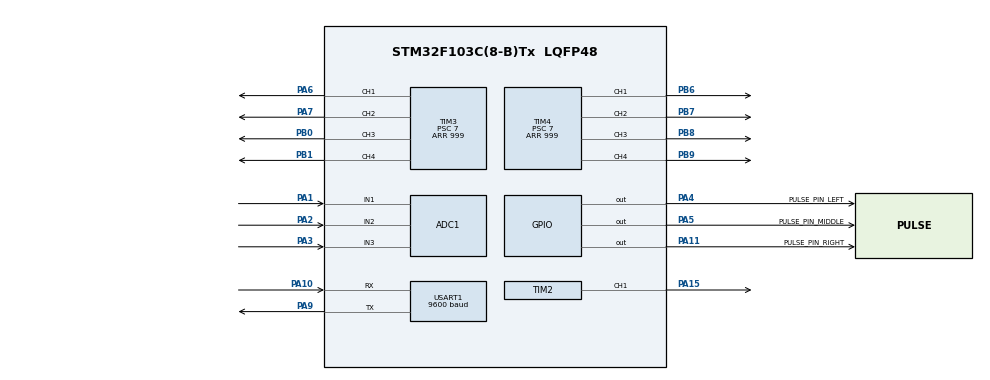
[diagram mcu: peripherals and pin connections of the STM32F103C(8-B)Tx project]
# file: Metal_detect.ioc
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ADC1.ContinuousConvMode=DISABLE
ADC1.EnableRegularConversion=DISABLE
ADC1.master=1
Mcu.Family=STM32F1
Mcu.Name=STM32F103C(8-B)Tx
Mcu.Package=LQFP48
NVIC.PriorityGroup=NVIC_PRIORITYGROUP_4
NVIC.USART1_IRQn=true\:0\:0\:false\:false\:true\:true\:true\:true
PA1.Signal=ADCx_IN1
PA10.Mode=Asynchronous
PA10.Signal=USART1_RX
PA11.GPIO_Label=PULSE_PIN_RIGHT
PA11.Signal=GPIO_Output
PA13.Mode=Trace_Asynchronous_SW
PA13.Signal=SYS_JTMS-SWDIO
PA14.Mode=Trace_Asynchronous_SW
PA14.Signal=SYS_JTCK-SWCLK
PA15.Signal=S_TIM2_CH1_ETR
PA2.Signal=ADCx_IN2
PA3.Signal=ADCx_IN3
PA4.GPIO_Label=PULSE_PIN_LEFT
PA4.Signal=GPIO_Output
PA5.GPIO_Label=PULSE_PIN_MIDDLE
PA5.Signal=GPIO_Output
PA6.Signal=S_TIM3_CH1
PA7.Signal=S_TIM3_CH2
PA9.Mode=Asynchronous
PA9.Signal=USART1_TX
PB0.Signal=S_TIM3_CH3
PB1.Signal=S_TIM3_CH4
PB3.Mode=Trace_Asynchronous_SW
PB3.Signal=SYS_JTDO-TRACESWO
PB6.Signal=S_TIM4_CH1
PB7.Signal=S_TIM4_CH2
PB8.Signal=S_TIM4_CH3
PB9.Signal=S_TIM4_CH4
ProjectManager.HeapSize=0x200
ProjectManager.StackSize=0x400
ProjectManager.TargetToolchain=STM32CubeIDE
RCC.APB1Freq_Value=8000000
RCC.APB2Freq_Value=8000000
SH.ADCx_IN1.0=ADC1_IN1,IN1
SH.ADCx_IN2.0=ADC1_IN2,IN2
SH.ADCx_IN3.0=ADC1_IN3,IN3
SH.S_TIM2_CH1_ETR.0=TIM2_CH1,PWM Generation1 CH1
SH.S_TIM3_CH1.0=TIM3_CH1,PWM Generation1 CH1
SH.S_TIM3_CH2.0=TIM3_CH2,PWM Generation2 CH2
SH.S_TIM3_CH3.0=TIM3_CH3,PWM Generation3 CH3
SH.S_TIM3_CH4.0=TIM3_CH4,PWM Generation4 CH4
SH.S_TIM4_CH1.0=TIM4_CH1,PWM Generation1 CH1
SH.S_TIM4_CH2.0=TIM4_CH2,PWM Generation2 CH2
SH.S_TIM4_CH3.0=TIM4_CH3,PWM Generation3 CH3
SH.S_TIM4_CH4.0=TIM4_CH4,PWM Generation4 CH4
TIM1.Prescaler=8-1
TIM2.Channel-PWM\ Generation1\ CH1=TIM_CHANNEL_1
TIM2.Period=999
TIM2.Prescaler=7
TIM3.Channel-PWM\ Generation1\ CH1=TIM_CHANNEL_1
TIM3.Channel-PWM\ Generation2\ CH2=TIM_CHANNEL_2
TIM3.Channel-PWM\ Generation3\ CH3=TIM_CHANNEL_3
TIM3.Channel-PWM\ Generation4\ CH4=TIM_CHANNEL_4
TIM3.Period=999
TIM3.Prescaler=7
TIM4.Channel-PWM\ Generation1\ CH1=TIM_CHANNEL_1
TIM4.Channel-PWM\ Generation2\ CH2=TIM_CHANNEL_2
TIM4.Channel-PWM\ Generation3\ CH3=TIM_CHANNEL_3
TIM4.Channel-PWM\ Generation4\ CH4=TIM_CHANNEL_4
TIM4.Period=999
TIM4.Prescaler=7
USART1.BaudRate=9600
USART1.VirtualMode=VM_ASYNC
VP_TIM1_VS_ClockSourceINT.Mode=Internal
board=custom

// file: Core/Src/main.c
/* USER CODE BEGIN Header */
/**
  ******************************************************************************
  * @file           : main.c
  * @brief          : Main program body (Improved Version)
  ******************************************************************************
  * @attention
  *
  *
  ******************************************************************************
  */
/* USER CODE END Header */

#include "main.h" // HAL 라이브러리에서 생성된 메인 헤더파일. 기본 주변장치 설정 및 선언 포함.

/* USER CODE BEGIN Includes */
#include <stdio.h> // printf 등을 사용하기 위한 표준 입출력 헤더파일
/* USER CODE END Includes */

/* USER CODE BEGIN PD */

#define US_DELAY_BETWEEN_PULSES    3    // 커패시터 충전용 펄스 사이의 간격 (마이크로초)
#define DISCHARGE_DELAY_US         20   // 커패시터 방전 대기 시간 (마이크로초)
#define PULSE_COUNT                3    // 커패시터 충전을 위한 펄스 발생 횟수

#define RX_BUFFER_SIZE  10 // UART 수신 버퍼 사이즈
/* USER CODE END PD */

ADC_HandleTypeDef hadc1; // ADC1 핸들 구조체(ADC 설정 및 사용을 위해 필요)
TIM_HandleTypeDef htim1; // us 단위 딜레이용 타이머(TIM1)
TIM_HandleTypeDef htim2; // 부저(PWM 등)로 사용되는 타이머(TIM2)
TIM_HandleTypeDef htim3; // 모터 제어용 PWM 타이머(TIM3)
TIM_HandleTypeDef htim4; // 모터 제어용 PWM 타이머(TIM4)
UART_HandleTypeDef huart1; // UART1 핸들 구조체(UART 설정 및 사용)

uint8_t rx_data; // UART로부터 한 바이트씩 수신할 때 임시 저장하는 변수
uint8_t rx_buffer[RX_BUFFER_SIZE]; // 수신 데이터 버퍼 (최대 10바이트)
uint8_t rx_index = 0; // 수신 버퍼 인덱스 관리용 변수

uint8_t Gearbox = 0;       // 전진/후진 결정하는 변수(0: 후진, 1: 전진)
uint8_t Turn_Direction = 0;// 좌/우회전 결정하는 변수(2: 우회전, 3: 좌회전)
uint16_t PWM_Value = 0;    // 전/후진 모터 속도값
uint16_t Turn_Value = 0;   // 좌/우회전 시 차감/추가되는 속도값
uint32_t ADC_CAP_VAL[3] = {0}; // ADC로 읽은 커패시터 충전값 저장 배열(Left, Middle, Right)
/* USER CODE END PV */

void SystemClock_Config(void);          // 시스템 클럭 설정 함수
static void MX_GPIO_Init(void);         // GPIO 초기화 함수
static void MX_TIM3_Init(void);         // TIM3 초기화 함수(PWM용)
static void MX_TIM4_Init(void);         // TIM4 초기화 함수(PWM용)
static void MX_USART1_UART_Init(void);  // UART1 초기화 함수
static void MX_ADC1_Init(void);         // ADC1 초기화 함수
static void MX_TIM1_Init(void);         // TIM1 초기화 함수(마이크로초 딜레이용)
static void MX_TIM2_Init(void);         // TIM2 초기화 함수(부저 등 활용 가능)

int __io_putchar(int ch);              // printf 리디렉션 함수
void delay_us(uint16_t us);            // us 단위 딜레이 함수

static void PWM_START(void);           // PWM 채널 시작 함수
static void PWM_RIGHT_FRONT_SPEED(uint16_t speed_value); // 오른쪽 전진용
static void PWM_LEFT_FRONT_SPEED(uint16_t speed_value);  // 왼쪽 전진용
static void PWM_RIGHT_BACK_SPEED(uint16_t speed_value);  // 오른쪽 후진용
static void PWM_LEFT_BACK_SPEED(uint16_t speed_value);   // 왼쪽 후진용

static void applyPulses(GPIO_TypeDef* port, uint16_t pin);        // 펄스 발생 함수(커패시터 충전용)
static void Discharge_Capacitor(GPIO_TypeDef* GPIOx, uint16_t GPIO_Pin); // 커패시터 방전 함수
static void ADC_Read_Channel(ADC_HandleTypeDef *hadc, uint32_t channel, uint32_t *adc_value); // 지정 채널에서 ADC 읽기 함수

static void Parse_Received_Data(void);   // 수신 버퍼로부터 데이터 파싱 함수
static void Perform_Cap_Measurement(void);// 커패시터 측정 및 결과 송신 함수

/* USER CODE BEGIN 0 */

/**
  * @brief  printf를 UART로 송출하기 위한 함수
  * @param  ch: 전송할 문자
  * @retval int
  */
int __io_putchar(int ch)
{
	if (ch == '\n')
		HAL_UART_Transmit(&huart1, (uint8_t*) "\r", 1, HAL_MAX_DELAY); // '\n' 앞에 '\r'를 추가
	HAL_UART_Transmit(&huart1, (uint8_t*) &ch, 1, HAL_MAX_DELAY);      // 실제 문자 전송
	return ch;
}

/**
  * @brief  us 단위 딜레이 함수
  * @param  us: 지연시킬 마이크로초
  * @retval None
  */
void delay_us(uint16_t us)
{
	__HAL_TIM_SET_COUNTER(&htim1, 0);  // 타이머 카운터값을 0으로 리셋
	while(__HAL_TIM_GET_COUNTER(&htim1) < us); // 지정된 us만큼 대기
}

/**
  * @brief  커패시터 충전용 펄스를 발생시키는 함수
  * @param  port: GPIO 포트
  * @param  pin : GPIO 핀
  * @retval None
  */
static void applyPulses(GPIO_TypeDef* port, uint16_t pin)
{
    for (int i = 0; i < PULSE_COUNT; i++)
    {
      HAL_GPIO_WritePin(port, pin, GPIO_PIN_SET);   // 핀 HIGH
      delay_us(US_DELAY_BETWEEN_PULSES);            // 일정 시간 대기
      HAL_GPIO_WritePin(port, pin, GPIO_PIN_RESET); // 핀 LOW
      delay_us(US_DELAY_BETWEEN_PULSES);            // 일정 시간 대기
    }
}

/**
  * @brief  모든 PWM 채널을 시작하는 함수
  * @retval None
  */
static void PWM_START()
{
	// TIM3의 4개 채널 PWM 시작
	HAL_TIM_PWM_Start(&htim3, TIM_CHANNEL_1);
	HAL_TIM_PWM_Start(&htim3, TIM_CHANNEL_2);
	HAL_TIM_PWM_Start(&htim3, TIM_CHANNEL_3);
	HAL_TIM_PWM_Start(&htim3, TIM_CHANNEL_4);

	// TIM4의 4개 채널 PWM 시작
	HAL_TIM_PWM_Start(&htim4, TIM_CHANNEL_1);
	HAL_TIM_PWM_Start(&htim4, TIM_CHANNEL_2);
	HAL_TIM_PWM_Start(&htim4, TIM_CHANNEL_3);
	HAL_TIM_PWM_Start(&htim4, TIM_CHANNEL_4);
}

/**
  * @brief  오른쪽 모터 전진 속도 제어
  * @param  speed_value: PWM 듀티값
  * @retval None
  */
static void PWM_RIGHT_FRONT_SPEED(uint16_t speed_value)
{
	htim3.Instance->CCR1 = speed_value; // 채널1에 속도값
	htim3.Instance->CCR2 = 0;          // 채널2는 0

	htim4.Instance->CCR1 = speed_value;
	htim4.Instance->CCR2 = 0;
}

/**
  * @brief  왼쪽 모터 전진 속도 제어
  * @param  speed_value: PWM 듀티값
  * @retval None
  */
static void PWM_LEFT_FRONT_SPEED(uint16_t speed_value)
{
	htim3.Instance->CCR3 = speed_value;
	htim3.Instance->CCR4 = 0;

	htim4.Instance->CCR4 = speed_value;
	htim4.Instance->CCR3 = 0;
}

/**
  * @brief  오른쪽 모터 후진 속도 제어
  * @param  speed_value: PWM 듀티값
  * @retval None
  */
static void PWM_RIGHT_BACK_SPEED(uint16_t speed_value)
{
	htim3.Instance->CCR2 = speed_value;
	htim3.Instance->CCR1 = 0;

	htim4.Instance->CCR2 = speed_value;
	htim4.Instance->CCR1 = 0;
}

/**
  * @brief  왼쪽 모터 후진 속도 제어
  * @param  speed_value: PWM 듀티값
  * @retval None
  */
static void PWM_LEFT_BACK_SPEED(uint16_t speed_value)
{
	htim3.Instance->CCR4 = speed_value;
	htim3.Instance->CCR3 = 0;

	htim4.Instance->CCR3 = speed_value;
	htim4.Instance->CCR4 = 0;
}

/**
  * @brief  커패시터를 방전시키는 함수
  * @param  GPIOx: GPIO 포트
  * @param  GPIO_Pin: GPIO 핀
  * @retval None
  */
static void Discharge_Capacitor(GPIO_TypeDef* GPIOx, uint16_t GPIO_Pin)
{
  GPIO_InitTypeDef GPIO_InitStruct = {0};

  // 방전을 위해 Pin을 Push-Pull Output으로 설정
  GPIO_InitStruct.Pin = GPIO_Pin;
  GPIO_InitStruct.Mode = GPIO_MODE_OUTPUT_PP;
  GPIO_InitStruct.Pull = GPIO_NOPULL;
  GPIO_InitStruct.Speed = GPIO_SPEED_FREQ_LOW;
  HAL_GPIO_Init(GPIOx, &GPIO_InitStruct);

  // LOW로 출력하여 방전
  HAL_GPIO_WritePin(GPIOx, GPIO_Pin, GPIO_PIN_RESET);
  delay_us(DISCHARGE_DELAY_US);

  // 다시 ADC 측정을 위해 Pin을 Analog 모드로 전환
  GPIO_InitStruct.Mode = GPIO_MODE_ANALOG;
  HAL_GPIO_Init(GPIOx, &GPIO_InitStruct);
}

/**
  * @brief  특정 ADC 채널에서 한 번 읽어오는 함수
  * @param  hadc: ADC 핸들
  * @param  channel: 읽고자 하는 채널
  * @param  adc_value: 결과를 저장할 변수 포인터
  * @retval None
  */
static void ADC_Read_Channel(ADC_HandleTypeDef *hadc, uint32_t channel, uint32_t *adc_value)
{
  ADC_ChannelConfTypeDef sConfig = {0};

  sConfig.Channel = channel;                              // 채널 설정
  sConfig.Rank = ADC_REGULAR_RANK_1;                      // 순서
  sConfig.SamplingTime = ADC_SAMPLETIME_71CYCLES_5;       // 샘플링 타임

  if (HAL_ADC_ConfigChannel(hadc, &sConfig) != HAL_OK)
  {
    Error_Handler(); // 에러 시 사용자 정의 핸들러
  }

  if (HAL_ADC_Start(hadc) != HAL_OK)
  {
    Error_Handler();
  }

  if (HAL_ADC_PollForConversion(hadc, HAL_MAX_DELAY) != HAL_OK)
  {
    Error_Handler();
  }

  *adc_value = HAL_ADC_GetValue(hadc); // 읽어온 ADC 값을 포인터에 저장

  if (HAL_ADC_Stop(hadc) != HAL_OK)
  {
    Error_Handler();
  }
}

/**
  * @brief  수신 버퍼 데이터를 실제 명령/속도 값으로 파싱하는 함수
  * @retval None
  */
static void Parse_Received_Data(void)
{
	// rx_buffer[] 구조:
	//  [0]        : Gearbox (0 또는 1)
	//  [1~4]      : PWM_Value 4자리
	//  [5]        : Turn_Direction (2 또는 3)
	//  [6~9]      : Turn_Value 4자리

	Gearbox = rx_buffer[0];

	// PWM_Value 복원
	uint16_t temp_pwm = (uint16_t)(rx_buffer[1] * 1000 + rx_buffer[2] * 100 + rx_buffer[3] * 10 + rx_buffer[4]);
	PWM_Value = temp_pwm;

	// 회전 방향
	Turn_Direction = rx_buffer[5];

	// Turn_Value 복원
	uint16_t temp_turn = (uint16_t)(rx_buffer[6] * 1000 + rx_buffer[7] * 1 + rx_buffer[8] * 10 + rx_buffer[9]);
	Turn_Value = temp_turn;
}

/**
  * @brief  커패시터 3개(Left, Middle, Right)의 충전값을 측정하고 UART로 송신
  * @retval None
  */
static void Perform_Cap_Measurement(void)
{
	// Left Cap 측정
	Discharge_Capacitor(GPIOA, GPIO_PIN_1);         // 커패시터 방전
	applyPulses(PULSE_PIN_LEFT_GPIO_Port, PULSE_PIN_LEFT_Pin); // 펄스 발생
	ADC_Read_Channel(&hadc1, ADC_CHANNEL_1, &ADC_CAP_VAL[0]);  // ADC 읽기

	// Middle Cap 측정
	Discharge_Capacitor(GPIOA, GPIO_PIN_2);
	applyPulses(PULSE_PIN_MIDDLE_GPIO_Port, PULSE_PIN_MIDDLE_Pin);
	ADC_Read_Channel(&hadc1, ADC_CHANNEL_2, &ADC_CAP_VAL[1]);

	// Right Cap 측정
	Discharge_Capacitor(GPIOA, GPIO_PIN_3);
	applyPulses(PULSE_PIN_RIGHT_GPIO_Port, PULSE_PIN_RIGHT_Pin);
	ADC_Read_Channel(&hadc1, ADC_CHANNEL_3, &ADC_CAP_VAL[2]);

	// 측정 결과를 UART로 출력(파이썬에서 파싱하기 좋게 CSV 포맷)
	printf("%ld,%ld,%ld\n", ADC_CAP_VAL[0], ADC_CAP_VAL[1], ADC_CAP_VAL[2]);
}
/* USER CODE END 0 */

int main(void)
{

  /* USER CODE BEGIN 1 */
  // 메인 함수 시작 전 초기화할 변수/설정이 있다면 여기서 작성
  /* USER CODE END 1 */

  /* MCU Configuration--------------------------------------------------------*/
  HAL_Init(); // HAL 라이브러리 초기화(인터럽트/타이머 등)

  /* Configure the system clock */
  SystemClock_Config(); // 시스템 클럭 설정

  /* Initialize all configured peripherals */
  MX_GPIO_Init();        // GPIO 초기화
  MX_TIM3_Init();        // 타이머3(PWM) 초기화
  MX_TIM4_Init();        // 타이머4(PWM) 초기화
  MX_USART1_UART_Init(); // UART1 초기화
  MX_ADC1_Init();        // ADC1 초기화
  MX_TIM1_Init();        // 타이머1(마이크로초 딜레이용) 초기화
  MX_TIM2_Init();        // 타이머2(부저 또는 추가 PWM) 초기화

  /* USER CODE BEGIN 2 */
  HAL_TIM_Base_Start(&htim1); // TIM1 카운터 시작(마이크로초 딜레이에 사용)

  PWM_START(); // 모든 PWM 채널 시작
  HAL_UART_Receive_IT(&huart1, &rx_data, 1); // UART 인터럽트 수신 시작

  // ADC 핀(충전용) 초기 상태를 Low로 설정
  HAL_GPIO_WritePin(PULSE_PIN_LEFT_GPIO_Port, PULSE_PIN_LEFT_Pin, GPIO_PIN_RESET);
  HAL_GPIO_WritePin(PULSE_PIN_MIDDLE_GPIO_Port, PULSE_PIN_MIDDLE_Pin, GPIO_PIN_RESET);
  HAL_GPIO_WritePin(PULSE_PIN_RIGHT_GPIO_Port, PULSE_PIN_RIGHT_Pin, GPIO_PIN_RESET);
  /* USER CODE END 2 */

  /* Infinite loop */
  /* USER CODE BEGIN WHILE */
  while (1)
  {
	  // 기어박스가 전진(Gearbox=1)인지 후진(0)인지, 그리고 좌우 회전값에 따라
	  // 모터의 PWM을 제어하는 로직

	  // 안전장치: 회전 값이 전체 속도보다 크면 속도보다 큰 값을 차감하지 않도록 보정
	  if (PWM_Value < Turn_Value)
	  {
		  Turn_Value = PWM_Value;
	  }

	  if (Gearbox == 1) // 전진
	  {
		  if (Turn_Direction == 2) // 우회전
		  {
			  PWM_RIGHT_FRONT_SPEED(PWM_Value - Turn_Value); // 오른쪽 속도 줄임
			  PWM_LEFT_FRONT_SPEED(PWM_Value);               // 왼쪽은 그대로
		  }
		  else if (Turn_Direction == 3) // 좌회전
		  {
			  PWM_LEFT_FRONT_SPEED(PWM_Value - Turn_Value);  // 왼쪽 속도 줄임
			  PWM_RIGHT_FRONT_SPEED(PWM_Value);              // 오른쪽은 그대로
		  }
	  }
	  else if (Gearbox == 0) // 후진
	  {
		  if (Turn_Direction == 2) // 우회전
		  {
			  PWM_RIGHT_BACK_SPEED(PWM_Value - Turn_Value);
			  PWM_LEFT_BACK_SPEED(PWM_Value);
		  }
		  else if (Turn_Direction == 3) // 좌회전
		  {
			  PWM_LEFT_BACK_SPEED(PWM_Value - Turn_Value);
			  PWM_RIGHT_BACK_SPEED(PWM_Value);
		  }
	  }
    /* USER CODE END WHILE */

    /* USER CODE BEGIN 3 */
    // 메인 루프에서 계속 반복
  }
  /* USER CODE END 3 */
}

void SystemClock_Config(void)
{
  // 내부 HSI 클럭을 사용하는 설정, PLL 비활성 등 기본 설정
  RCC_OscInitTypeDef RCC_OscInitStruct = {0};
  RCC_ClkInitTypeDef RCC_ClkInitStruct = {0};
  RCC_PeriphCLKInitTypeDef PeriphClkInit = {0};

  // HSI 설정
  RCC_OscInitStruct.OscillatorType = RCC_OSCILLATORTYPE_HSI;
  RCC_OscInitStruct.HSIState = RCC_HSI_ON;
  RCC_OscInitStruct.HSICalibrationValue = RCC_HSICALIBRATION_DEFAULT;
  RCC_OscInitStruct.PLL.PLLState = RCC_PLL_NONE;
  if (HAL_RCC_OscConfig(&RCC_OscInitStruct) != HAL_OK)
  {
    Error_Handler(); // 클럭 설정 실패 시 에러 처리
  }

  // CPU, AHB, APB 클럭 설정
  RCC_ClkInitStruct.ClockType = RCC_CLOCKTYPE_HCLK|RCC_CLOCKTYPE_SYSCLK
                              |RCC_CLOCKTYPE_PCLK1|RCC_CLOCKTYPE_PCLK2;
  RCC_ClkInitStruct.SYSCLKSource = RCC_SYSCLKSOURCE_HSI; // HSI를 메인 클럭 소스로
  RCC_ClkInitStruct.AHBCLKDivider = RCC_SYSCLK_DIV1;
  RCC_ClkInitStruct.APB1CLKDivider = RCC_HCLK_DIV1;
  RCC_ClkInitStruct.APB2CLKDivider = RCC_HCLK_DIV1;

  if (HAL_RCC_ClockConfig(&RCC_ClkInitStruct, FLASH_LATENCY_0) != HAL_OK)
  {
    Error_Handler();
  }

  // ADC 클럭 설정(ADC 전용 PCLK2 분주)
  PeriphClkInit.PeriphClockSelection = RCC_PERIPHCLK_ADC;
  PeriphClkInit.AdcClockSelection = RCC_ADCPCLK2_DIV2;
  if (HAL_RCCEx_PeriphCLKConfig(&PeriphClkInit) != HAL_OK)
  {
    Error_Handler();
  }
}

static void MX_ADC1_Init(void)
{
  // ADC1 기본 설정: 단일 채널, SW 스타트, 지속 미사용 등
  hadc1.Instance = ADC1;
  hadc1.Init.ScanConvMode = ADC_SCAN_DISABLE;    // 스캔 모드 비활성화
  hadc1.Init.ContinuousConvMode = DISABLE;       // 연속 변환 모드 비활성화
  hadc1.Init.DiscontinuousConvMode = DISABLE;    // 디스컨티뉴어스 변환 비활성화
  hadc1.Init.ExternalTrigConv = ADC_SOFTWARE_START; // 소프트웨어 트리거
  hadc1.Init.DataAlign = ADC_DATAALIGN_RIGHT;    // 오른쪽 정렬
  hadc1.Init.NbrOfConversion = 1;                // 변환 개수 1

  if (HAL_ADC_Init(&hadc1) != HAL_OK)
  {
    Error_Handler(); // ADC 초기화 실패 시 에러
  }
}

static void MX_TIM1_Init(void)
{
  // TIM1 설정: us 단위 딜레이용(프리스케일러 등 설정)
  TIM_ClockConfigTypeDef sClockSourceConfig = {0};
  TIM_MasterConfigTypeDef sMasterConfig = {0};

  htim1.Instance = TIM1;
  htim1.Init.Prescaler = 8-1;      // 클럭 분주(예: 8MHz -> 1MHz)
  htim1.Init.CounterMode = TIM_COUNTERMODE_UP;
  htim1.Init.Period = 65535;       // 최대 카운터
  htim1.Init.ClockDivision = TIM_CLOCKDIVISION_DIV1;
  htim1.Init.RepetitionCounter = 0;
  htim1.Init.AutoReloadPreload = TIM_AUTORELOAD_PRELOAD_DISABLE;
  if (HAL_TIM_Base_Init(&htim1) != HAL_OK)
  {
    Error_Handler();
  }

  sClockSourceConfig.ClockSource = TIM_CLOCKSOURCE_INTERNAL; // 내부 클럭 사용
  if (HAL_TIM_ConfigClockSource(&htim1, &sClockSourceConfig) != HAL_OK)
  {
    Error_Handler();
  }

  // 마스터 설정
  sMasterConfig.MasterOutputTrigger = TIM_TRGO_RESET;
  sMasterConfig.MasterSlaveMode = TIM_MASTERSLAVEMODE_DISABLE;
  if (HAL_TIMEx_MasterConfigSynchronization(&htim1, &sMasterConfig) != HAL_OK)
  {
    Error_Handler();
  }
}

static void MX_TIM2_Init(void)
{
  // TIM2는 부저 PWM 혹은 추가 기능으로 사용 가능
  TIM_MasterConfigTypeDef sMasterConfig = {0};
  TIM_OC_InitTypeDef sConfigOC = {0};

  htim2.Instance = TIM2;
  htim2.Init.Prescaler = 7;           // PWM 주기 설정(8MHz/8 -> 1MHz)
  htim2.Init.CounterMode = TIM_COUNTERMODE_UP;
  htim2.Init.Period = 999;            // 주기 1000 -> 1kHz
  htim2.Init.ClockDivision = TIM_CLOCKDIVISION_DIV1;
  htim2.Init.AutoReloadPreload = TIM_AUTORELOAD_PRELOAD_DISABLE;
  if (HAL_TIM_PWM_Init(&htim2) != HAL_OK)
  {
    Error_Handler();
  }

  sMasterConfig.MasterOutputTrigger = TIM_TRGO_RESET;
  sMasterConfig.MasterSlaveMode = TIM_MASTERSLAVEMODE_DISABLE;
  if (HAL_TIMEx_MasterConfigSynchronization(&htim2, &sMasterConfig) != HAL_OK)
  {
    Error_Handler();
  }

  // 채널1 PWM 설정
  sConfigOC.OCMode = TIM_OCMODE_PWM1;
  sConfigOC.Pulse = 0;                       // 초기 듀티 0%
  sConfigOC.OCPolarity = TIM_OCPOLARITY_HIGH;
  sConfigOC.OCFastMode = TIM_OCFAST_DISABLE;
  if (HAL_TIM_PWM_ConfigChannel(&htim2, &sConfigOC, TIM_CHANNEL_1) != HAL_OK)
  {
    Error_Handler();
  }

  HAL_TIM_MspPostInit(&htim2); // PWM 핀 초기화
}

static void MX_TIM3_Init(void)
{
  // 모터 제어용 1kHz PWM 타이머3
  TIM_MasterConfigTypeDef sMasterConfig = {0};
  TIM_OC_InitTypeDef sConfigOC = {0};

  htim3.Instance = TIM3;
  htim3.Init.Prescaler = 7;       // (8MHz / 8) -> 1MHz
  htim3.Init.CounterMode = TIM_COUNTERMODE_UP;
  htim3.Init.Period = 999;        // 1kHz (1MHz / 1000)
  htim3.Init.ClockDivision = TIM_CLOCKDIVISION_DIV1;
  htim3.Init.AutoReloadPreload = TIM_AUTORELOAD_PRELOAD_DISABLE;
  if (HAL_TIM_PWM_Init(&htim3) != HAL_OK)
  {
    Error_Handler();
  }

  sMasterConfig.MasterOutputTrigger = TIM_TRGO_RESET;
  sMasterConfig.MasterSlaveMode = TIM_MASTERSLAVEMODE_DISABLE;
  if (HAL_TIMEx_MasterConfigSynchronization(&htim3, &sMasterConfig) != HAL_OK)
  {
    Error_Handler();
  }

  // 4채널 공통 설정
  sConfigOC.OCMode = TIM_OCMODE_PWM1;
  sConfigOC.Pulse = 0;                       // 초기 듀티 0%
  sConfigOC.OCPolarity = TIM_OCPOLARITY_HIGH;
  sConfigOC.OCFastMode = TIM_OCFAST_DISABLE;

  // 채널1
  if (HAL_TIM_PWM_ConfigChannel(&htim3, &sConfigOC, TIM_CHANNEL_1) != HAL_OK)
  {
    Error_Handler();
  }
  // 채널2
  if (HAL_TIM_PWM_ConfigChannel(&htim3, &sConfigOC, TIM_CHANNEL_2) != HAL_OK)
  {
    Error_Handler();
  }
  // 채널3
  if (HAL_TIM_PWM_ConfigChannel(&htim3, &sConfigOC, TIM_CHANNEL_3) != HAL_OK)
  {
    Error_Handler();
  }
  // 채널4
  if (HAL_TIM_PWM_ConfigChannel(&htim3, &sConfigOC, TIM_CHANNEL_4) != HAL_OK)
  {
    Error_Handler();
  }

  HAL_TIM_MspPostInit(&htim3);
}

static void MX_TIM4_Init(void)
{
  // 모터 제어용 1kHz PWM 타이머4
  TIM_MasterConfigTypeDef sMasterConfig = {0};
  TIM_OC_InitTypeDef sConfigOC = {0};

  htim4.Instance = TIM4;
  htim4.Init.Prescaler = 7;
  htim4.Init.CounterMode = TIM_COUNTERMODE_UP;
  htim4.Init.Period = 999;
  htim4.Init.ClockDivision = TIM_CLOCKDIVISION_DIV1;
  htim4.Init.AutoReloadPreload = TIM_AUTORELOAD_PRELOAD_DISABLE;
  if (HAL_TIM_PWM_Init(&htim4) != HAL_OK)
  {
    Error_Handler();
  }

  sMasterConfig.MasterOutputTrigger = TIM_TRGO_RESET;
  sMasterConfig.MasterSlaveMode = TIM_MASTERSLAVEMODE_DISABLE;
  if (HAL_TIMEx_MasterConfigSynchronization(&htim4, &sMasterConfig) != HAL_OK)
  {
    Error_Handler();
  }

  // 4채널 공통 설정
  sConfigOC.OCMode = TIM_OCMODE_PWM1;
  sConfigOC.Pulse = 0;
  sConfigOC.OCPolarity = TIM_OCPOLARITY_HIGH;
  sConfigOC.OCFastMode = TIM_OCFAST_DISABLE;

  // 채널1
  if (HAL_TIM_PWM_ConfigChannel(&htim4, &sConfigOC, TIM_CHANNEL_1) != HAL_OK)
  {
    Error_Handler();
  }
  // 채널2
  if (HAL_TIM_PWM_ConfigChannel(&htim4, &sConfigOC, TIM_CHANNEL_2) != HAL_OK)
  {
    Error_Handler();
  }
  // 채널3
  if (HAL_TIM_PWM_ConfigChannel(&htim4, &sConfigOC, TIM_CHANNEL_3) != HAL_OK)
  {
    Error_Handler();
  }
  // 채널4
  if (HAL_TIM_PWM_ConfigChannel(&htim4, &sConfigOC, TIM_CHANNEL_4) != HAL_OK)
  {
    Error_Handler();
  }

  HAL_TIM_MspPostInit(&htim4);
}

static void MX_USART1_UART_Init(void)
{
  // UART1 기본 설정
  huart1.Instance = USART1;
  huart1.Init.BaudRate = 9600;               // 보드레이트
  huart1.Init.WordLength = UART_WORDLENGTH_8B;
  huart1.Init.StopBits = UART_STOPBITS_1;
  huart1.Init.Parity = UART_PARITY_NONE;
  huart1.Init.Mode = UART_MODE_TX_RX;
  huart1.Init.HwFlowCtl = UART_HWCONTROL_NONE;
  huart1.Init.OverSampling = UART_OVERSAMPLING_16;
  if (HAL_UART_Init(&huart1) != HAL_OK)
  {
    Error_Handler();
  }
}

static void MX_GPIO_Init(void)
{
  // GPIO 핀 초기화
  GPIO_InitTypeDef GPIO_InitStruct = {0};

  // GPIOA, GPIOB 클럭 활성화
  __HAL_RCC_GPIOA_CLK_ENABLE();
  __HAL_RCC_GPIOB_CLK_ENABLE();

  // PULSE_PIN_LEFT_Pin, PULSE_PIN_MIDDLE_Pin, PULSE_PIN_RIGHT_Pin을 출력 Low로 초기화
  HAL_GPIO_WritePin(GPIOA, PULSE_PIN_LEFT_Pin|PULSE_PIN_MIDDLE_Pin|PULSE_PIN_RIGHT_Pin, GPIO_PIN_RESET);

  // 펄스 핀 3개를 Push-Pull Output 모드로 설정
  GPIO_InitStruct.Pin = PULSE_PIN_LEFT_Pin|PULSE_PIN_MIDDLE_Pin|PULSE_PIN_RIGHT_Pin;
  GPIO_InitStruct.Mode = GPIO_MODE_OUTPUT_PP;
  GPIO_InitStruct.Pull = GPIO_NOPULL;
  GPIO_InitStruct.Speed = GPIO_SPEED_FREQ_LOW;
  HAL_GPIO_Init(GPIOA, &GPIO_InitStruct);
}

/* USER CODE BEGIN 4 */

/**
  * @brief UART Rx Complete Callback
  * @param huart: UART 핸들
  * @retval None
  */
void HAL_UART_RxCpltCallback(UART_HandleTypeDef *huart)
{
	if (huart->Instance == USART1) // UART1에 대한 인터럽트 콜백
	{
		if (rx_data >= '0' && rx_data <= '9')
		{
			// 0~9 숫자면 버퍼에 저장
			if (rx_index < RX_BUFFER_SIZE)
			{
				rx_buffer[rx_index++] = rx_data - '0'; // 아스키 -> 숫자 변환
			}
		}

		// 줄바꿈 문자가 들어오면(= 명령 하나가 끝났을 때)
		if (rx_data == '\n' || rx_data == '\r')
		{
			if (rx_index == RX_BUFFER_SIZE)
			{
				Parse_Received_Data();   // 버퍼 파싱
				Perform_Cap_Measurement(); // 커패시터 측정 및 송신
			}
			rx_index = 0; // 인덱스 리셋
		}

		// 다음 바이트 수신 대기
		HAL_UART_Receive_IT(&huart1, &rx_data, 1);
	}
}
/* USER CODE END 4 */

void Error_Handler(void)
{
  // 에러 발생 시 인터럽트를 비활성화하고 무한루프
  __disable_irq();
  while (1)
  {
    // 사용자는 여기서 에러 로깅 등을 수행할 수 있음
  }
}
